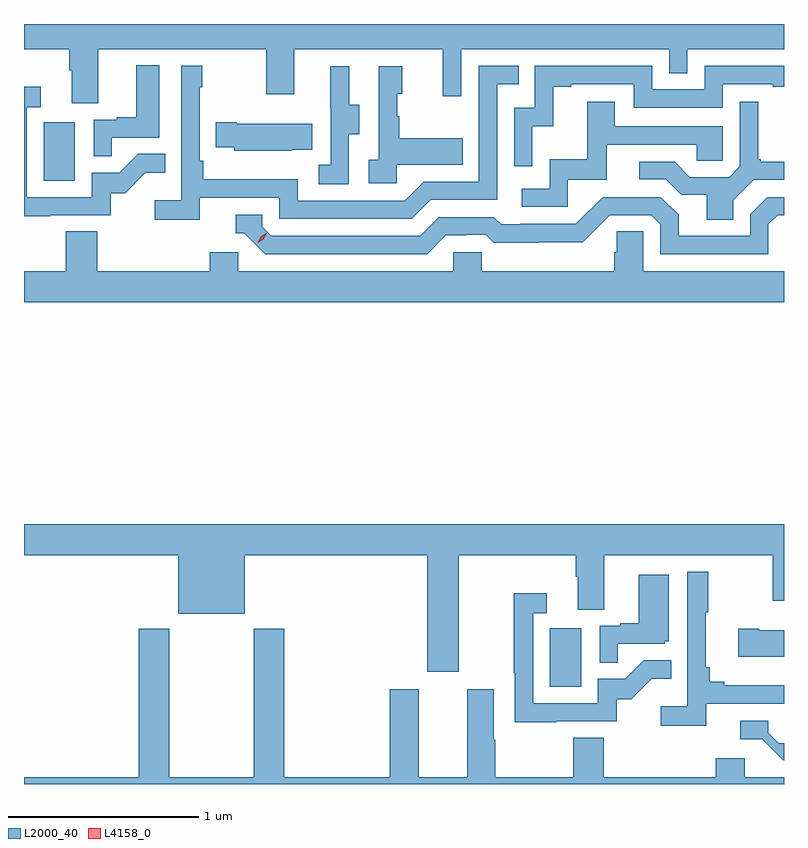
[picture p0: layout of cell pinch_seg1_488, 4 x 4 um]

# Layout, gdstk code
import gdstk
lib = gdstk.Library(unit=1e-6, precision=1e-09)
def R(c, l, rs):  # rectangles x0, y0, x1, y1
    for r in rs: c.add(gdstk.rectangle(r[:2], r[2:], *l))
def P(c, l, *ps):  # polygons
    for p in ps: c.add(gdstk.Polygon(p, *l))
L2000_40 = (2000, 40)
L4158_0 = (4158, 0)

pinch_seg1_488 = lib.new_cell('pinch_seg1_488')
R(pinch_seg1_488, L2000_40, [(1086.176,525.732,1086.34,526.039), (1083.512,528.396,1083.676,528.703)])
P(pinch_seg1_488, L2000_40, [(1083.799,529.088),(1084.684,529.088),(1084.684,528.849),(1084.831,528.849),(1084.831,529.088),(1085.612,529.088),(1085.612,528.84),(1085.709,528.84),(1085.709,529.088),(1086.804,529.088),(1086.804,528.961),(1086.9,528.961),(1086.9,529.088),(1087.408,529.088),(1087.408,529.22),(1083.408,529.22),(1083.408,529.088),(1083.647,529.088),(1083.647,528.976),(1083.659,528.976),(1083.659,528.802),(1083.799,528.802)],
  [(1083.869,528.621),(1084.12,528.621),(1084.12,529.003),(1083.998,529.003),(1083.998,528.73),(1083.895,528.73),(1083.895,528.717),(1083.774,528.717),(1083.774,528.523),(1083.869,528.523)],
  [(1084.334,528.306),(1084.752,528.306),(1084.752,528.195),(1085.449,528.195),(1085.548,528.294),(1085.898,528.294),(1085.898,528.903),(1086.011,528.903),(1086.011,528.999),(1085.802,528.999),(1085.802,528.39),(1085.511,528.39),(1085.412,528.291),(1084.848,528.291),(1084.848,528.403),(1084.352,528.403),(1084.352,528.499),(1084.332,528.499),(1084.332,528.887),(1084.345,528.887),(1084.345,529),(1084.236,529),(1084.236,528.292),(1084.095,528.292),(1084.095,528.19),(1084.334,528.19)],
  [(1086.084,528.683),(1086.194,528.683),(1086.194,528.891),(1086.289,528.891),(1086.289,528.903),(1086.618,528.903),(1086.618,528.78),(1087.086,528.78),(1087.086,528.903),(1087.349,528.903),(1087.349,528.891),(1087.408,528.891),(1087.408,528.999),(1086.99,528.999),(1086.99,528.876),(1086.714,528.876),(1086.714,528.999),(1086.096,528.999),(1086.096,528.78),(1085.988,528.78),(1085.988,528.471),(1086.084,528.471)],
  [(1085.118,528.64),(1085.173,528.64),(1085.173,528.795),(1085.119,528.795),(1085.119,528.997),(1085.021,528.997),(1085.021,528.783),(1085.022,528.783),(1085.022,528.479),(1084.959,528.479),(1084.959,528.376),(1085.118,528.376)],
  [(1085.37,528.479),(1085.717,528.479),(1085.717,528.619),(1085.383,528.619),(1085.383,528.734),(1085.373,528.734),(1085.373,528.852),(1085.398,528.852),(1085.398,528.997),(1085.274,528.997),(1085.274,528.506),(1085.223,528.506),(1085.223,528.381),(1085.37,528.381)],
  [(1083.545,528.213),(1083.864,528.213),(1083.864,528.33),(1083.94,528.33),(1084.047,528.437),(1084.151,528.437),(1084.151,528.536),(1084.008,528.536),(1083.91,528.438),(1083.765,528.438),(1083.765,528.309),(1083.423,528.309),(1083.423,528.783),(1083.496,528.783),(1083.496,528.889),(1083.408,528.889),(1083.408,528.208),(1083.545,528.208)],
  [(1086.27,528.399),(1086.475,528.399),(1086.475,528.585),(1086.949,528.585),(1086.949,528.501),(1087.086,528.501),(1087.086,528.681),(1086.517,528.681),(1086.517,528.811),(1086.373,528.811),(1086.373,528.508),(1086.174,528.508),(1086.174,528.354),(1086.027,528.354),(1086.027,528.258),(1086.27,528.258)],
  [(1087.141,528.292),(1087.248,528.399),(1087.408,528.399),(1087.408,528.496),(1087.285,528.496),(1087.285,528.508),(1087.273,528.508),(1087.273,528.811),(1087.176,528.811),(1087.176,528.471),(1087.119,528.414),(1086.913,528.414),(1086.832,528.495),(1086.645,528.495),(1086.645,528.402),(1086.786,528.402),(1086.866,528.322),(1087.001,528.322),(1087.001,528.19),(1087.141,528.19)],
  [(1084.817,528.557),(1084.925,528.557),(1084.925,528.694),(1084.528,528.694),(1084.528,528.702),(1084.417,528.702),(1084.417,528.572),(1084.515,528.572),(1084.515,528.554),(1084.817,528.554)],
  [(1085.629,528.108),(1085.736,528.108),(1085.736,528.111),(1085.839,528.111),(1085.881,528.069),(1086.114,528.069),(1086.114,528.071),(1086.35,528.071),(1086.492,528.213),(1086.708,528.213),(1086.756,528.165),(1086.756,528.009),(1087.326,528.009),(1087.326,528.165),(1087.374,528.213),(1087.408,528.213),(1087.408,528.309),(1087.32,528.309),(1087.23,528.219),(1087.23,528.105),(1086.853,528.105),(1086.853,528.215),(1086.759,528.309),(1086.453,528.309),(1086.312,528.168),(1086.019,528.168),(1086.019,528.165),(1085.92,528.165),(1085.881,528.204),(1085.592,528.204),(1085.493,528.105),(1084.71,528.105),(1084.662,528.153),(1084.662,528.216),(1084.523,528.216),(1084.523,528.12),(1084.566,528.12),(1084.677,528.009),(1085.53,528.009)],
  [(1087.408,527.92),(1086.666,527.92),(1086.666,528.128),(1086.529,528.128),(1086.529,528.018),(1086.515,528.018),(1086.515,527.92),(1085.817,527.92),(1085.817,528.018),(1085.667,528.018),(1085.667,527.92),(1084.536,527.92),(1084.536,528.018),(1084.385,528.018),(1084.385,527.92),(1083.794,527.92),(1083.794,528.128),(1083.629,528.128),(1083.629,527.92),(1083.408,527.92),(1083.408,527.756),(1087.408,527.756)],
  [(1085.695,526.424),(1086.311,526.424),(1086.311,526.312),(1086.323,526.312),(1086.323,526.138),(1086.463,526.138),(1086.463,526.424),(1087.348,526.424),(1087.348,526.185),(1087.408,526.185),(1087.408,526.588),(1083.408,526.588),(1083.408,526.424),(1084.22,526.424),(1084.22,526.115),(1084.57,526.115),(1084.57,526.424),(1085.531,526.424),(1085.531,525.81),(1085.695,525.81)],
  [(1086.998,525.642),(1087.408,525.642),(1087.408,525.739),(1087.093,525.739),(1087.093,525.758),(1087.016,525.758),(1087.016,525.835),(1086.997,525.835),(1086.997,526.123),(1087.009,526.123),(1087.009,526.336),(1086.9,526.336),(1086.9,525.628),(1086.759,525.628),(1086.759,525.526),(1086.998,525.526)],
  [(1086.533,525.957),(1086.78,525.957),(1086.78,525.972),(1086.802,525.972),(1086.802,526.321),(1086.644,526.321),(1086.644,526.066),(1086.545,526.066),(1086.545,526.053),(1086.438,526.053),(1086.438,525.859),(1086.533,525.859)],
  [(1086.209,525.549),(1086.528,525.549),(1086.528,525.666),(1086.604,525.666),(1086.711,525.773),(1086.815,525.773),(1086.815,525.872),(1086.671,525.872),(1086.573,525.774),(1086.429,525.774),(1086.429,525.645),(1086.087,525.645),(1086.087,526.119),(1086.16,526.119),(1086.16,526.225),(1085.986,526.225),(1085.986,525.805),(1085.991,525.805),(1085.991,525.544),(1086.209,525.544)],
  [(1087.408,526.03),(1087.279,526.03),(1087.279,526.038),(1087.167,526.038),(1087.167,525.89),(1087.408,525.89)],
  [(1086.298,525.464),(1086.298,525.256),(1085.889,525.256),(1085.889,525.452),(1085.881,525.452),(1085.881,525.718),(1085.741,525.718),(1085.741,525.256),(1085.485,525.256),(1085.485,525.718),(1085.333,525.718),(1085.333,525.256),(1084.778,525.256),(1084.778,526.036),(1084.618,526.036),(1084.618,525.256),(1084.173,525.256),(1084.173,526.036),(1084.013,526.036),(1084.013,525.256),(1083.408,525.256),(1083.408,525.22),(1087.408,525.22),(1087.408,525.256),(1087.201,525.256),(1087.201,525.355),(1087.049,525.355),(1087.049,525.256),(1086.458,525.256),(1086.458,525.464)],
  [(1087.408,525.435),(1087.38,525.435),(1087.326,525.489),(1087.326,525.552),(1087.179,525.552),(1087.179,525.456),(1087.294,525.456),(1087.405,525.345),(1087.408,525.345)])
P(pinch_seg1_488, L4158_0, [(1084.637,528.068),(1084.637,528.069),(1084.654,528.101),(1084.684,528.12),(1084.685,528.12),(1084.685,528.12),(1084.668,528.088),(1084.638,528.068)])

lib.write_gds('pinch_seg1_488.gds')
